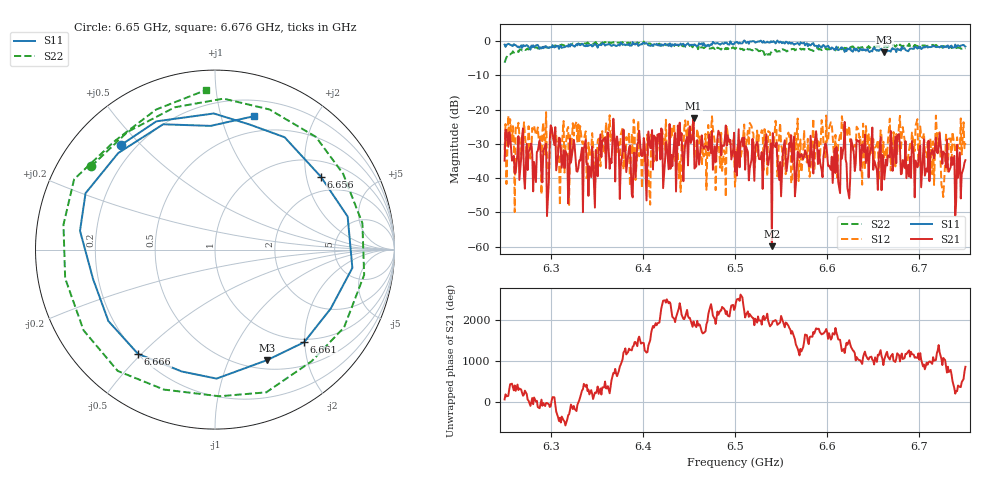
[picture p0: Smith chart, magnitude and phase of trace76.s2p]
# Hz S RI R 50
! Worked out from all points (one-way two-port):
!   401 points, 6.25 GHz to 6.75 GHz, reference 50 ohm
!   highest |S21| = -22.45 dB at 6.455 GHz (marker M1); lowest = -59.9 dB at 6.54 GHz (marker M2)
!   lowest |S11| = -3.3 dB at 6.662 GHz (marker M3), VSWR 5.27, Z = 30.5 - j69.9 ohm
!   |S11| at or under -10 dB: nowhere
!   |S22| runs from -6.3 to -0.1 dB; largest |S21 - S12| = 0.12
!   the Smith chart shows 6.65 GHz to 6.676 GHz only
!   S11 on the Smith chart (normalised r, x): 6.65 GHz: 0.14, +0.44; 6.656 GHz: 1.46, +2.44; 6.661 GHz: 0.94, -1.99; 6.666 GHz: 0.20, -0.49; 6.676 GHz: 0.34, +1.28
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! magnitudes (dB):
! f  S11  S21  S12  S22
! 6.25 GHz  -1.1  -34.9  -31.8  -6.3
! 6.295 GHz  -1.6  -30.0  -20.8  -1.8
! 6.302 GHz  -1.2  -26.9  -27.8  -1.8
! 6.31 GHz  -1.5  -28.4  -48.0  -1.1
! 6.334 GHz  -1.0  -31.1  -29.6  -0.8
! 6.418 GHz  -1.3  -27.1  -31.6  -0.8
! 6.441 GHz  -0.8  -29.0  -44.1  -1.2
! 6.455 GHz  -1.2  -22.4  -22.7  -1.4
! 6.5 GHz  -0.4  -38.2  -42.5  -2.3
! 6.54 GHz  -0.3  -59.9  -31.2  -3.2
! 6.584 GHz  -0.7  -34.5  -29.4  -2.7
! 6.65 GHz  -2.1  -37.6  -28.6  -1.6
! 6.656 GHz  -2.9  -34.5  -40.7  -1.5
! 6.661 GHz  -2.9  -34.5  -29.4  -1.5
! 6.662 GHz  -3.3  -40.4  -34.3  -1.7
! 6.666 GHz  -2.8  -33.4  -28.8  -1.6
! 6.668 GHz  -2.9  -33.9  -22.7  -1.2
! 6.676 GHz  -2.2  -27.5  -33.3  -1.0
! 6.714 GHz  -1.7  -31.7  -38.9  -1.2
! 6.72 GHz  -1.7  -32.8  -31.5  -1.7
! 6.726 GHz  -2.0  -32.3  -45.6  -1.5
! 6.75 GHz  -1.6  -34.8  -29.8  -2.1
